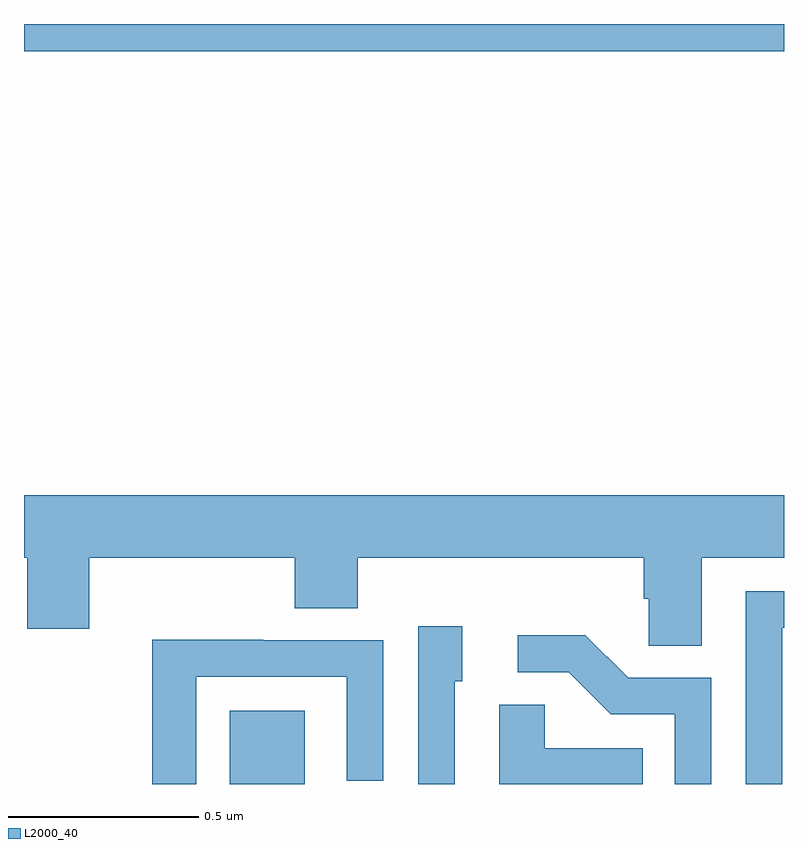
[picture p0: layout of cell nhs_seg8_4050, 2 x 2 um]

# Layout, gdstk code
import gdstk
lib = gdstk.Library(unit=1e-6, precision=1e-09)
def R(c, l, rs):  # rectangles x0, y0, x1, y1
    for r in rs: c.add(gdstk.rectangle(r[:2], r[2:], *l))
def P(c, l, *ps):  # polygons
    for p in ps: c.add(gdstk.Polygon(p, *l))
L2000_40 = (2000, 40)

nhs_seg8_4050 = lib.new_cell('nhs_seg8_4050')
R(nhs_seg8_4050, L2000_40, [(165.542,1119.9,165.739,1120.093), (165,1121.828,167,1121.9)])
P(nhs_seg8_4050, L2000_40, [(166.783,1120.496),(167,1120.496),(167,1120.66),(165,1120.66),(165,1120.496),(165.008,1120.496),(165.008,1120.308),(165.172,1120.308),(165.172,1120.496),(165.713,1120.496),(165.713,1120.363),(165.878,1120.363),(165.878,1120.496),(166.631,1120.496),(166.631,1120.387),(166.644,1120.387),(166.644,1120.264),(166.783,1120.264)],
  [(166.995,1120.311),(167,1120.311),(167,1120.407),(166.899,1120.407),(166.899,1119.9),(166.995,1119.9)],
  [(166.134,1120.17),(166.153,1120.17),(166.153,1120.315),(166.038,1120.315),(166.038,1119.9),(166.134,1119.9)],
  [(166.809,1120.179),(166.59,1120.179),(166.477,1120.292),(166.299,1120.292),(166.299,1120.194),(166.433,1120.194),(166.544,1120.083),(166.713,1120.083),(166.713,1119.9),(166.809,1119.9)],
  [(165.453,1120.182),(165.849,1120.182),(165.849,1119.909),(165.945,1119.909),(165.945,1120.278),(165.629,1120.278),(165.629,1120.28),(165.337,1120.28),(165.337,1119.9),(165.453,1119.9)],
  [(166.628,1119.994),(166.371,1119.994),(166.371,1120.109),(166.25,1120.109),(166.25,1119.9),(166.628,1119.9)])

lib.write_gds('nhs_seg8_4050.gds')
